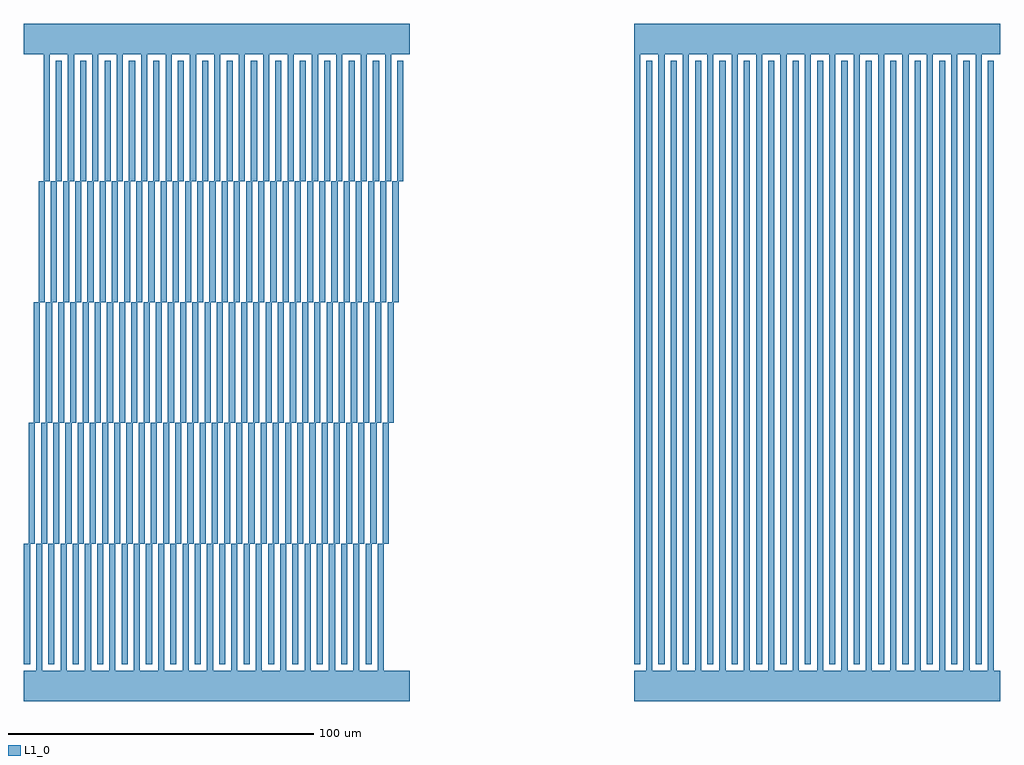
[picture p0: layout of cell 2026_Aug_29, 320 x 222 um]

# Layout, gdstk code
import gdstk
lib = gdstk.Library(unit=1e-6, precision=1e-09)
def R(c, l, rs):  # rectangles x0, y0, x1, y1
    for r in rs: c.add(gdstk.rectangle(r[:2], r[2:], *l))
def A(c, l, x, y, w, h, nx, ny, dx, dy):  # array of equal rectangles
    R(c, l, [(x+i*dx, y+j*dy, x+i*dx+w, y+j*dy+h) for i in range(nx) for j in range(ny)])
L1_0 = (1, 0)

c_2026_aug_29 = lib.new_cell('2026_Aug_29')
A(c_2026_aug_29, L1_0, 14.4, 0, 8, 10, 14, 2, 8, 212)
A(c_2026_aug_29, L1_0, 200, 0, 8, 10, 15, 2, 8, 212)
A(c_2026_aug_29, L1_0, 4, 10, 2, 41.6, 15, 1, 8, 0)
A(c_2026_aug_29, L1_0, 204, 10, 2, 200, 15, 1, 8, 0)
A(c_2026_aug_29, L1_0, 0, 12, 2, 39.6, 15, 1, 8, 0)
A(c_2026_aug_29, L1_0, 200, 12, 2, 200, 15, 1, 8, 0)
A(c_2026_aug_29, L1_0, 1.6, 51.6, 2, 39.6, 30, 1, 4, 0)
A(c_2026_aug_29, L1_0, 3.2, 91.2, 2, 39.6, 30, 1, 4, 0)
A(c_2026_aug_29, L1_0, 4.8, 130.8, 2, 39.6, 30, 1, 4, 0)
A(c_2026_aug_29, L1_0, 6.4, 170.4, 2, 41.6, 15, 1, 8, 0)
A(c_2026_aug_29, L1_0, 10.4, 170.4, 2, 39.6, 15, 1, 8, 0)
R(c_2026_aug_29, L1_0, [(0,0,14.4,10), (0,212,14.4,222)])

lib.write_gds('2026_Aug_29.gds')
